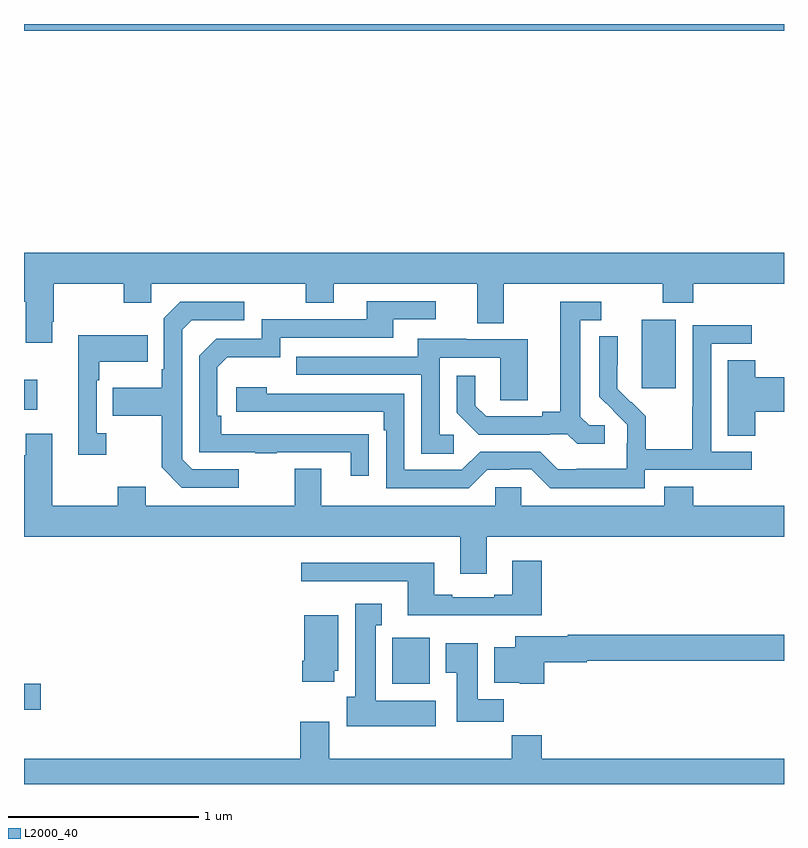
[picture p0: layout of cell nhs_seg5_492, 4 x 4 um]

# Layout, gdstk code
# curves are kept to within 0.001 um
import gdstk
lib = gdstk.Library(unit=1e-6, precision=1e-09)
def R(c, l, rs):  # rectangles x0, y0, x1, y1
    for r in rs: c.add(gdstk.rectangle(r[:2], r[2:], *l))
def P(c, l, *ps):  # polygons
    for p in ps: c.add(gdstk.Polygon(p, *l))
L2000_40 = (2000, 40)

nhs_seg5_492 = lib.new_cell('nhs_seg5_492')
R(nhs_seg5_492, L2000_40, [(143,849.191,143.089,849.326), (144.938,849.326,145.135,849.568), (143,850.769,143.071,850.927), (146.252,850.881,146.431,851.242), (143,852.764,147,852.799)])
P(nhs_seg5_492, L2000_40, [(143.149,851.233),(143.157,851.233),(143.157,851.432),(143.524,851.432),(143.524,851.333),(143.67,851.333),(143.67,851.432),(144.484,851.432),(144.484,851.333),(144.631,851.333),(144.631,851.432),(145.385,851.432),(145.385,851.224),(145.525,851.224),(145.525,851.432),(146.362,851.432),(146.362,851.333),(146.522,851.333),(146.522,851.432),(147,851.432),(147,851.596),(143,851.596),(143,851.336),(143.009,851.336),(143.009,851.121),(143.149,851.121)],
  [(144.815,850.64),(144.038,850.641),(144.038,850.738),(144.018,850.738),(144.018,850.992),(144.071,851.045),(144.348,851.045),(144.348,851.148),(144.943,851.148),(144.943,851.244),(145.168,851.244),(145.168,851.34),(144.803,851.34),(144.803,851.244),(144.252,851.244),(144.252,851.142),(144.012,851.142),(143.922,851.052),(143.922,850.545),(144.217,850.545),(144.217,850.54),(144.329,850.54),(144.329,850.545),(144.719,850.545),(144.719,850.422),(144.815,850.422)],
  [(144.13,850.455),(143.886,850.455),(143.832,850.509),(143.832,851.19),(143.883,851.241),(144.16,851.241),(144.16,851.337),(143.823,851.337),(143.736,851.25),(143.736,850.981),(143.724,850.981),(143.724,850.885),(143.467,850.885),(143.467,850.738),(143.724,850.738),(143.724,850.465),(143.829,850.359),(144.13,850.359)],
  [(146.056,850.686),(145.974,850.686),(145.927,850.733),(145.927,851.241),(146.038,851.241),(146.038,851.337),(145.823,851.337),(145.823,850.757),(145.727,850.757),(145.727,850.734),(145.432,850.734),(145.375,850.791),(145.375,850.948),(145.278,850.948),(145.278,850.754),(145.394,850.638),(145.766,850.638),(145.766,850.641),(145.86,850.641),(145.912,850.589),(146.056,850.589)],
  [(146.268,850.452),(146.83,850.452),(146.83,850.548),(146.616,850.548),(146.616,851.115),(146.83,851.115),(146.83,851.214),(146.52,851.214),(146.52,850.784),(146.518,850.784),(146.518,850.561),(146.273,850.561),(146.273,850.735),(146.196,850.812),(146.193,850.809),(146.123,850.88),(146.124,851.156),(146.028,851.156),(146.028,850.838),(146.174,850.69),(146.174,850.593),(146.172,850.593),(146.172,850.459),(145.909,850.459),(145.909,850.455),(145.809,850.455),(145.716,850.548),(145.401,850.548),(145.305,850.452),(145.002,850.452),(145.002,850.854),(144.278,850.854),(144.278,850.888),(144.117,850.888),(144.117,850.758),(144.893,850.758),(144.893,850.661),(144.906,850.661),(144.906,850.356),(145.341,850.356),(145.437,850.452),(145.556,850.452),(145.556,850.455),(145.671,850.455),(145.771,850.355),(146.268,850.355)],
  [(143.434,850.646),(143.382,850.646),(143.382,850.925),(143.395,850.925),(143.395,851.021),(143.651,851.021),(143.651,851.161),(143.285,851.161),(143.285,850.533),(143.434,850.533)],
  [(145.261,850.638),(145.188,850.638),(145.188,851.043),(145.506,851.043),(145.506,850.819),(145.651,850.819),(145.651,851.139),(145.327,851.139),(145.327,851.143),(145.073,851.143),(145.073,851.049),(144.433,851.049),(144.433,850.953),(145.092,850.953),(145.092,850.537),(145.261,850.537)],
  [(146.849,850.757),(147,850.757),(147,850.94),(146.849,850.94),(146.849,851.03),(146.705,851.03),(146.705,850.633),(146.849,850.633)],
  [(147,850.264),(146.522,850.264),(146.522,850.363),(146.369,850.363),(146.369,850.264),(145.617,850.264),(145.617,850.362),(145.479,850.362),(145.479,850.264),(144.565,850.264),(144.565,850.459),(144.425,850.459),(144.425,850.264),(143.641,850.264),(143.641,850.363),(143.494,850.363),(143.494,850.264),(143.149,850.264),(143.149,850.642),(143.009,850.642),(143.009,850.529),(143,850.529),(143,850.1),(145.295,850.1),(145.295,849.906),(145.435,849.906),(145.435,850.1),(147,850.1)],
  [(145.724,849.973),(145.571,849.973),(145.571,849.796),(145.475,849.796),(145.475,849.783),(145.255,849.783),(145.255,849.796),(145.159,849.796),(145.159,849.964),(144.459,849.964),(144.459,849.867),(145.019,849.867),(145.019,849.686),(145.724,849.686)],
  [(145.168,849.238),(144.85,849.238),(144.85,849.635),(144.883,849.635),(144.883,849.748),(144.743,849.748),(144.743,849.258),(144.698,849.258),(144.698,849.104),(145.168,849.104)],
  [(144.634,849.396),(144.655,849.396),(144.655,849.688),(144.476,849.688),(144.476,849.448),(144.464,849.448),(144.464,849.336),(144.634,849.336)],
  [(145.739,849.44),(145.962,849.44),(145.962,849.448),(147,849.448),(147,849.584),(145.862,849.584),(145.862,849.577),(145.586,849.577),(145.586,849.52),(145.475,849.52),(145.475,849.332),(145.608,849.332),(145.608,849.326),(145.739,849.326)],
  [(145.526,849.244),(145.387,849.244),(145.387,849.541),(145.22,849.541),(145.22,849.385),(145.277,849.385),(145.277,849.126),(145.526,849.126)],
  [(147,848.932),(145.724,848.932),(145.724,849.056),(145.567,849.056),(145.567,848.932),(144.607,848.932),(144.607,849.127),(144.455,849.127),(144.455,848.932),(143,848.932),(143,848.799),(147,848.799)])

lib.write_gds('nhs_seg5_492.gds')
